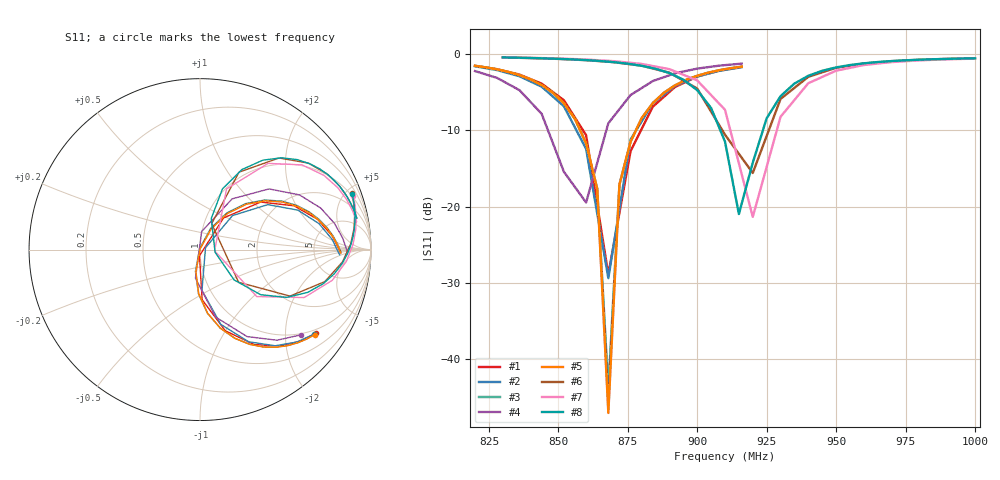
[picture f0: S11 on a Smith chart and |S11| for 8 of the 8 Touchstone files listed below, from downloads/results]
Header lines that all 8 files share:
# Hz S RI R 50
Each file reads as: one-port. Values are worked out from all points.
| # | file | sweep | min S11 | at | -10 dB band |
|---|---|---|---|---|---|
| 1 | fr4_868_body.s1p | 820 MHz to 916 MHz | -28.9 dB | 868 MHz | 20.9 MHz wide |
| 2 | fr4_868_boundary.s1p | 820 MHz to 916 MHz | -29.4 dB | 868 MHz | 21.54 MHz wide |
| 3 | fr4_868_final.s1p | 820 MHz to 916 MHz | -43.9 dB | 868 MHz | 20.11 MHz wide |
| 4 | fr4_868_initial.s1p | 820 MHz to 916 MHz | -19.5 dB | 860 MHz | 21.02 MHz wide |
| 5 | fr4_868_refined.s1p | 820 MHz to 916 MHz | -47.0 dB | 868 MHz | 20.09 MHz wide |
| 6 | uhf_body.s1p | 830 MHz to 1 GHz | -15.6 dB | 920 MHz | 16.73 MHz wide |
| 7 | uhf_initial.s1p | 830 MHz to 1 GHz | -21.3 dB | 920 MHz | 16.74 MHz wide |
| 8 | uhf_refined.s1p | 830 MHz to 1 GHz | -21.0 dB | 915 MHz | 15.33 MHz wide |
